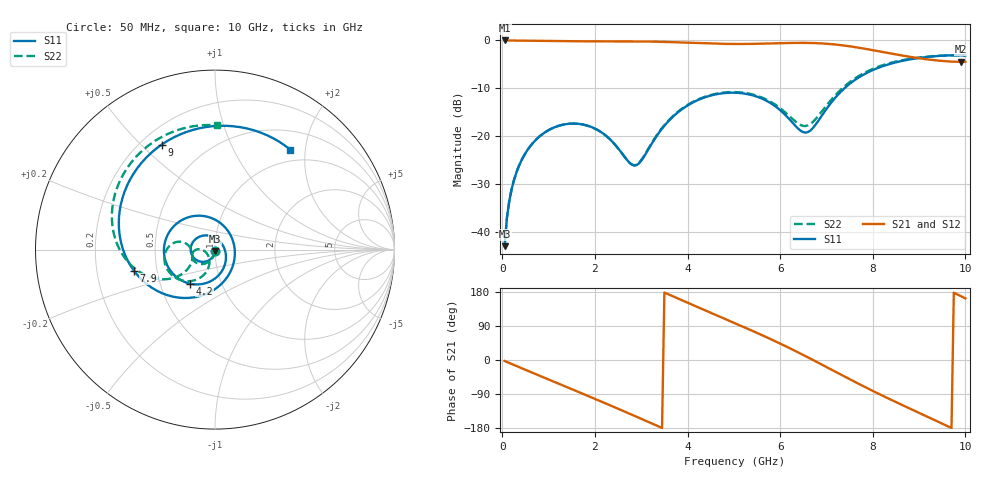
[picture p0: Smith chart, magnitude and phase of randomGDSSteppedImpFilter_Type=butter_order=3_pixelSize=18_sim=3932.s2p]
! freq	dB(S11)	phase(S11)	dB(S12)	phase(S12)
!  dB(S21)	phase(S21)	dB(S22)	phase(S22)
!S-par simulation data
#  GHz  S  DB  R 50
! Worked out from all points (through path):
!   200 points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, 50 MHz to 10 GHz, reference 50 ohm
!   highest |S21| = 0.00 dB at 50 MHz (marker M1); lowest = -4.5 dB at 9.9 GHz (marker M2)
!   group delay of S21, straight-line fit = 156 ps
!   lowest |S11| = -43.0 dB at 50 MHz (marker M3), VSWR 1.01, Z = 50 - j0.71 ohm
!   |S11| at or under -10 dB: start of sweep to 7.387 GHz
!   |S22| runs from -42.9 to -3.1 dB; largest |S21 - S12| = 0
!   S11 on the Smith chart (normalised r, x): 50 MHz: 1.00, -0.01; 4.2 GHz: 0.71, -0.28; 7.9 GHz: 0.37, -0.11; 9 GHz: 0.28, +0.58; 10 GHz: 0.79, +1.72
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0.05  -42.96 -91.8  -0.00 -2.6  -0.00 -2.6  -42.94 -91.1
0.1  -37.03 -95.0  -0.01 -5.2  -0.01 -5.2  -37.02 -93.8
0.2  -31.13 -101.2  -0.02 -10.4  -0.02 -10.4  -31.12 -99.0
0.5  -23.55 -119.1  -0.05 -25.9  -0.05 -25.9  -23.54 -113.4
1.15  -18.05 -157.1  -0.14 -59.2  -0.14 -59.2  -18.05 -142.7
1.75  -17.57 165.8  -0.18 -89.7  -0.18 -89.7  -17.59 -166.8
2.3  -20.40 123.9  -0.18 -118.1  -0.18 -118.1  -20.44 178.7
2.85  -26.12 34.1  -0.19 -147.1  -0.19 -147.1  -26.06 -148.5
3.4  -19.05 -64.1  -0.28 -176.6  -0.28 -176.6  -18.91 -110.1
4.2  -12.55 -126.5  -0.55 140.6  -0.55 140.6  -12.44 -132.7
5.05  -10.93 177.9  -0.74 95.8  -0.74 95.8  -10.79 -165.6
5.45  -11.59 150.0  -0.71 74.3  -0.71 74.3  -11.40 -180.0
5.85  -13.44 117.4  -0.62 52.0  -0.62 52.0  -13.13 169.0
6.45  -18.91 32.9  -0.50 16.3  -0.50 16.3  -17.70 -178.0
6.7  -18.37 -26.3  -0.54 0.6  -0.54 0.6  -17.08 -155.4
7.35  -10.33 -117.9  -1.02 -41.0  -1.02 -41.0  -9.91 -148.9
7.9  -6.63 -165.2  -1.85 -75.5  -1.85 -75.5  -6.38 -170.3
8.35  -4.96 161.2  -2.66 -102.3  -2.66 -102.3  -4.78 169.5
9  -3.66 116.9  -3.72 -139.5  -3.72 -139.5  -3.56 139.4
9.45  -3.22 87.8  -4.24 -164.9  -4.24 -164.9  -3.19 117.7
9.9  -3.10 59.4  -4.47 168.7  -4.47 168.7  -3.15 94.4
10  -3.13 53.1  -4.45 162.6  -4.45 162.6  -3.19 88.9
